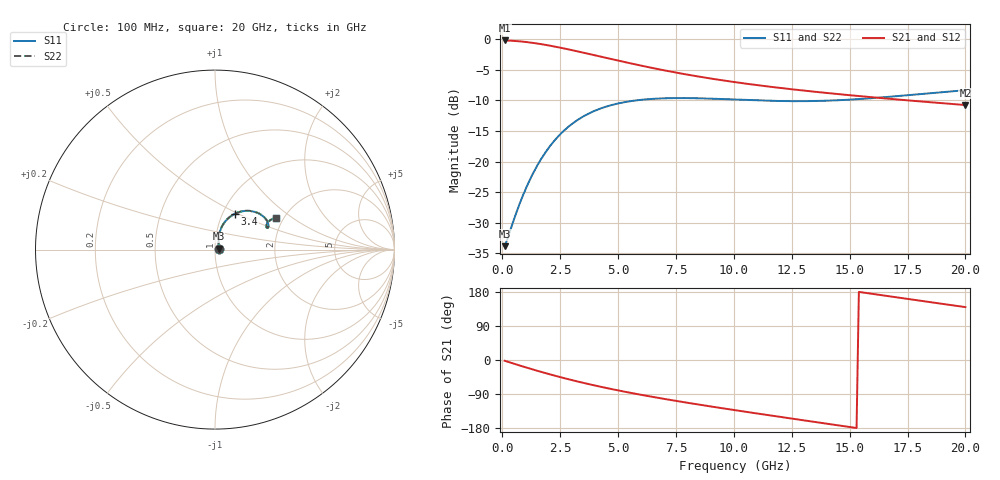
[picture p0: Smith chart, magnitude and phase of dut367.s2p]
! Touchstone file exported from HFSS 2024.1.0
!  File:  C:/UserFiles/LocalFiles/RDL_TSV_Batchsim/temp_RDL_TSV_367_1779641863.aedt
!  Generated:  01:12:38 AM May 25, 2026
!  Design:  RDL_TSV
!  Project:  temp_RDL_TSV_367_1779641863
!  Setup:  Setup1
!  Solution:  Sweep
! Variables:
!  dtsv = 8.11um
!  hbump = 3um
!  htsv = 99.07um
!  ldown = 508.48um
!  lrdl = 342.81um
!  p = 40
!  p1 = 55.14um
!  rhole = 10um
!  subl = 2896.68um
!  t = 450um
!  tdown = 3.23um
!  trdl = 4.61um
!  viad = 10um
!  wdown = 14.02um
!  wrdl = 15.55um
!  xbump = 18um
# GHz S MA R 50.000000
! Terminal data exported
! Port[1] = TM1_1_T1
! Port[2] = TM1_4_T1
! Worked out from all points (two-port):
!   200 points, 100 MHz to 20 GHz, reference 50 ohm
!   highest |S21| = -0.17 dB at 100 MHz (marker M1); lowest = -10.7 dB at 20 GHz (marker M2)
!   |S21| within 3 dB of the highest: start of sweep to 4.658 GHz
!   lowest |S11| = -33.8 dB at 100 MHz (marker M3), VSWR 1.04, Z = 52 + j0.585 ohm
!   |S11| at or under -10 dB: start of sweep to 5.749 GHz; 11.11 GHz to 14.25 GHz (3.14 GHz wide, 24.8 % of centre)
!   |S22| runs from -33.8 to -8.3 dB; largest |S21 - S12| = 3.9e-14
!   S11 on the Smith chart (normalised r, x): 100 MHz: 1.04, +0.01; 3.4 GHz: 1.14, +0.48; 20 GHz: 1.84, +0.75
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0.1  0.02031 16.1  0.9802 -2.0  0.9802 -2.0  0.02031 16.1
! Gamma 0 0 0 0
! Port Impedance 50 0 50 0
0.5  0.0335 52.9  0.9724 -9.8  0.9724 -9.8  0.03349 52.9
0.9  0.05331 67.8  0.9578 -17.3  0.9578 -17.3  0.05332 67.8
1.2  0.07158 72.7  0.9432 -22.9  0.9432 -22.9  0.07161 72.8
1.6  0.09933 74.7  0.9196 -30.0  0.9196 -30.0  0.0994 74.8
2  0.1293 73.6  0.8926 -36.9  0.8926 -36.9  0.1294 73.7
2.4  0.1597 70.8  0.8633 -43.5  0.8633 -43.5  0.1599 70.9
2.9  0.1959 66.1  0.8252 -51.4  0.8252 -51.4  0.1962 66.2
3.4  0.2283 61.0  0.7865 -58.9  0.7865 -58.9  0.2286 61.0
3.5  0.2342 59.9  0.7789 -60.3  0.7789 -60.3  0.2346 60.0
4.2  0.2699 52.8  0.7264 -70.0  0.7264 -70.0  0.2704 52.8
5.1  0.3017 44.6  0.6642 -81.5  0.6642 -81.5  0.3023 44.6
5.9  0.3188 38.5  0.6152 -90.8  0.6152 -90.8  0.3194 38.5
6.8  0.3284 33.0  0.5674 -100.6  0.5674 -100.6  0.3291 33.0
8.3  0.3301 26.5  0.503 -115.8  0.503 -115.8  0.3308 26.6
10.1  0.3215 22.9  0.4454 -132.9  0.4454 -132.9  0.3222 22.9
11.7  0.314 22.5  0.4068 -147.4  0.4068 -147.4  0.3146 22.5
13.4  0.3129 24.1  0.3744 -162.6  0.3744 -162.6  0.3136 24.1
15  0.3212 26.1  0.3494 -176.8  0.3494 -176.8  0.3219 26.2
16.7  0.3388 27.7  0.3267 168.2  0.3267 168.2  0.3395 27.7
18.4  0.3616 28.0  0.3068 153.4  0.3068 153.4  0.3623 28.1
20  0.3835 27.2  0.2903 139.6  0.2903 139.6  0.3843 27.2
